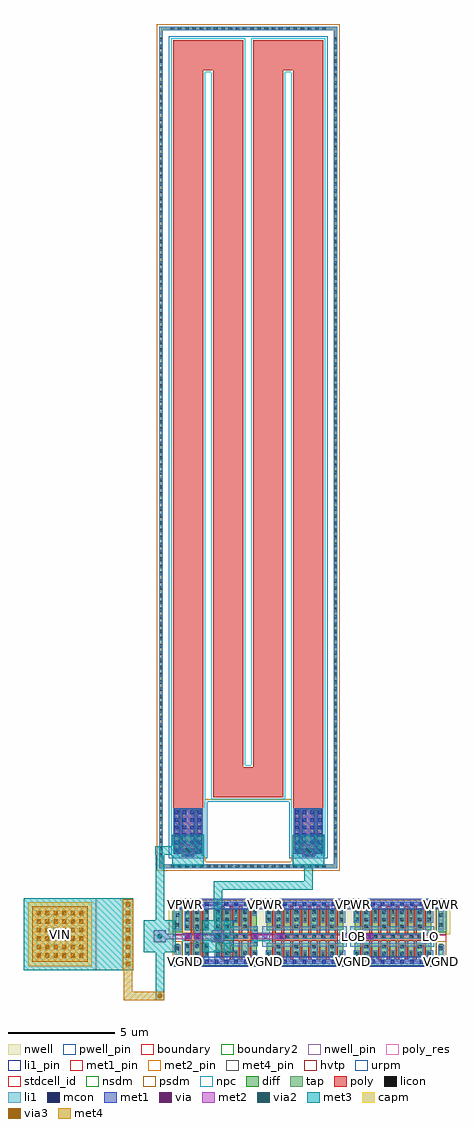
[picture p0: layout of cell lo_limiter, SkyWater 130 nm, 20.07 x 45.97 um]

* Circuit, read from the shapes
.subckt lo_limiter LO LOB VGND VIN VPWR
XM1 n1 n2 VGND VGND sky130_fd_pr__nfet_01v8 w=0.65 l=0.15 m=2
XM2 n3 n1 VGND VGND sky130_fd_pr__nfet_01v8 w=0.65 l=0.15 m=4
XM3 LOB n3 VGND VGND sky130_fd_pr__nfet_01v8 w=0.65 l=0.15 m=8
XM4 LO LOB VGND VGND sky130_fd_pr__nfet_01v8 w=0.65 l=0.15 m=8
XM5 n1 n2 VPWR VPWR sky130_fd_pr__pfet_01v8_hvt w=1 l=0.15 m=2
XM6 n3 n1 VPWR VPWR sky130_fd_pr__pfet_01v8_hvt w=1 l=0.15 m=4
XM7 LOB n3 VPWR VPWR sky130_fd_pr__pfet_01v8_hvt w=1 l=0.15 m=8
XM8 LO LOB VPWR VPWR sky130_fd_pr__pfet_01v8_hvt w=1 l=0.15 m=8
XC9 VIN n2 sky130_fd_pr__cap_mim_m3_1 w=3 l=3
XR10 n2 n1 VGND sky130_fd_pr__res_xhigh_po w=1.41 l=145.12
.ends

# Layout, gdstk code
import gdstk
lib = gdstk.Library(unit=1e-6, precision=5e-09)
def R(c, l, rs):  # rectangles x0, y0, x1, y1
    for r in rs: c.add(gdstk.rectangle(r[:2], r[2:], *l))
def A(c, l, x, y, w, h, nx, ny, dx, dy):  # array of equal rectangles
    R(c, l, [(x+i*dx, y+j*dy, x+i*dx+w, y+j*dy+h) for i in range(nx) for j in range(ny)])
def P(c, l, *ps):  # polygons
    for p in ps: c.add(gdstk.Polygon(p, *l))
nwell_pin = (64, 16)
nwell = (64, 20)
diff = (65, 20)
tap = (65, 44)
poly_res = (66, 13)
poly = (66, 20)
licon = (66, 44)
li1_pin = (67, 16)
li1 = (67, 20)
mcon = (67, 44)
met1_pin = (68, 16)
met1 = (68, 20)
via = (68, 44)
met2_pin = (69, 16)
met2 = (69, 20)
via2 = (69, 44)
met3 = (70, 20)
via3 = (70, 44)
met4_pin = (71, 16)
met4 = (71, 20)
hvtp = (78, 44)
urpm = (79, 20)
stdcell_id = (81, 4)
capm = (89, 44)
nsdm = (93, 44)
psdm = (94, 20)
npc = (95, 20)
pwell_pin = (122, 16)
boundary = (235, 4)
boundary2 = (236, 0)

lo_limiter = lib.new_cell('lo_limiter')
R(lo_limiter, nwell_pin, [(0.605,2.635,0.775,2.805), (1.985,2.635,2.155,2.805), (4.285,2.635,4.455,2.805), (8.425,2.635,8.595,2.805)])
R(lo_limiter, nwell, [(-0.19,1.305,0.65,2.91), (0.27,1.305,2.03,2.91), (1.65,1.305,4.33,2.91), (3.95,1.305,8.47,2.91), (8.09,1.305,12.61,2.91), (12.23,1.305,13.07,2.91)])
R(lo_limiter, diff, [(0.605,0.235,1.695,0.885), (2.025,0.235,3.955,0.885), (4.44,0.235,8.05,0.885), (8.58,0.235,12.19,0.885), (0.605,1.485,1.695,2.485), (2.025,1.485,3.955,2.485), (4.44,1.485,8.05,2.485), (8.58,1.485,12.19,2.485)])
R(lo_limiter, tap, [(0.145,0.32,0.315,0.845), (12.565,0.32,12.735,0.845), (0.145,1.525,0.315,2.4), (12.565,1.525,12.735,2.4), (-0.625,4.415,7.755,4.585), (-0.625,4.585,-0.455,43.875), (7.585,4.585,7.755,43.875), (-0.625,43.875,7.755,44.045)])
R(lo_limiter, poly_res, [(0.025,7.145,1.435,41.985), (5.695,7.145,7.105,41.985), (1.915,7.745,5.215,9.155), (1.915,9.155,3.325,41.985), (3.805,9.155,5.215,41.985), (0.025,41.985,3.325,43.395), (3.805,41.985,7.105,43.395)])
R(lo_limiter, poly, [(0.025,5.065,1.435,41.985), (5.695,5.065,7.105,41.985), (1.915,7.745,5.215,9.155), (1.915,9.155,3.325,41.985), (3.805,9.155,5.215,41.985), (0.025,41.985,3.325,43.395), (3.805,41.985,7.105,43.395)])
P(lo_limiter, poly, [(11.93,2.615),(11.78,2.615),(11.78,1.325),(11.51,1.325),(11.51,2.615),(11.36,2.615),(11.36,1.325),(11.09,1.325),(11.09,2.615),(10.94,2.615),(10.94,1.325),(10.67,1.325),(10.67,2.615),(10.52,2.615),(10.52,1.325),(10.25,1.325),(10.25,2.615),(10.1,2.615),(10.1,1.325),(9.83,1.325),(9.83,2.615),(9.68,2.615),(9.68,1.325),(9.41,1.325),(9.41,2.615),(9.26,2.615),(9.26,1.325),(8.99,1.325),(8.99,2.615),(8.84,2.615),(8.84,0.105),(8.99,0.105),(8.99,0.995),(9.26,0.995),(9.26,0.105),(9.41,0.105),(9.41,0.995),(9.68,0.995),(9.68,0.105),(9.83,0.105),(9.83,0.995),(10.1,0.995),(10.1,0.105),(10.25,0.105),(10.25,0.995),(10.52,0.995),(10.52,0.105),(10.67,0.105),(10.67,0.995),(10.94,0.995),(10.94,0.105),(11.09,0.105),(11.09,0.995),(11.36,0.995),(11.36,0.105),(11.51,0.105),(11.51,0.995),(11.78,0.995),(11.78,0.105),(11.93,0.105)],
  [(7.79,2.615),(7.64,2.615),(7.64,1.325),(7.37,1.325),(7.37,2.615),(7.22,2.615),(7.22,1.325),(6.95,1.325),(6.95,2.615),(6.8,2.615),(6.8,1.325),(6.53,1.325),(6.53,2.615),(6.38,2.615),(6.38,1.325),(6.11,1.325),(6.11,2.615),(5.96,2.615),(5.96,1.325),(5.69,1.325),(5.69,2.615),(5.54,2.615),(5.54,1.325),(5.27,1.325),(5.27,2.615),(5.12,2.615),(5.12,1.325),(4.85,1.325),(4.85,2.615),(4.7,2.615),(4.7,0.105),(4.85,0.105),(4.85,0.995),(5.12,0.995),(5.12,0.105),(5.27,0.105),(5.27,0.995),(5.54,0.995),(5.54,0.105),(5.69,0.105),(5.69,0.995),(5.96,0.995),(5.96,0.105),(6.11,0.105),(6.11,0.995),(6.38,0.995),(6.38,0.105),(6.53,0.105),(6.53,0.995),(6.8,0.995),(6.8,0.105),(6.95,0.105),(6.95,0.995),(7.22,0.995),(7.22,0.105),(7.37,0.105),(7.37,0.995),(7.64,0.995),(7.64,0.105),(7.79,0.105)],
  [(3.695,2.615),(3.545,2.615),(3.545,1.325),(3.275,1.325),(3.275,2.615),(3.125,2.615),(3.125,1.325),(2.855,1.325),(2.855,2.615),(2.705,2.615),(2.705,1.325),(2.435,1.325),(2.435,2.615),(2.285,2.615),(2.285,1.325),(1.945,1.325),(1.945,0.995),(2.285,0.995),(2.285,0.105),(2.435,0.105),(2.435,0.995),(2.705,0.995),(2.705,0.105),(2.855,0.105),(2.855,0.995),(3.125,0.995),(3.125,0.105),(3.275,0.105),(3.275,0.995),(3.545,0.995),(3.545,0.105),(3.695,0.105)],
  [(0.865,0.105),(0.865,0.995),(0.565,0.995),(0.565,1.325),(0.865,1.325),(0.865,2.615),(1.015,2.615),(1.015,1.325),(1.285,1.325),(1.285,2.615),(1.435,2.615),(1.435,0.105),(1.285,0.105),(1.285,0.995),(1.015,0.995),(1.015,0.105)])
A(lo_limiter, licon, 0.645, 0.295, 0.17, 0.17, 3, 2, 0.42, 0.36)
A(lo_limiter, licon, 4.48, 0.295, 0.17, 0.17, 9, 2, 0.42, 1.62)
A(lo_limiter, licon, 8.62, 0.295, 0.17, 0.17, 9, 2, 0.42, 1.62)
A(lo_limiter, licon, 4.9, 0.635, 0.17, 0.17, 4, 2, 0.84, 0.94)
A(lo_limiter, licon, 9.04, 0.635, 0.17, 0.17, 4, 2, 0.84, 0.94)
A(lo_limiter, licon, 2.485, 1.075, 0.17, 0.17, 3, 1, 0.42, 0)
A(lo_limiter, licon, 4.9, 1.075, 0.17, 0.17, 7, 1, 0.42, 0)
A(lo_limiter, licon, 9.04, 1.075, 0.17, 0.17, 7, 1, 0.42, 0)
A(lo_limiter, licon, 0.645, 1.575, 0.17, 0.17, 3, 3, 0.42, 0.34)
A(lo_limiter, licon, 2.065, 1.915, 0.17, 0.17, 4, 1, 0.42, 0)
A(lo_limiter, licon, 2.065, 2.255, 0.17, 0.17, 5, 1, 0.42, 0)
A(lo_limiter, licon, 4.48, 2.255, 0.17, 0.17, 9, 1, 0.42, 0)
A(lo_limiter, licon, 8.62, 2.255, 0.17, 0.17, 9, 1, 0.42, 0)
A(lo_limiter, licon, -0.09, 4.415, 0.17, 0.17, 22, 2, 0.34, 39.46)
A(lo_limiter, licon, -0.625, 4.935, 0.17, 0.17, 1, 114, 0, 0.34)
A(lo_limiter, licon, 7.585, 4.935, 0.17, 0.17, 1, 114, 0, 0.34)
R(lo_limiter, licon, [(2.065,0.295,2.235,0.465), (2.905,0.295,3.075,0.465), (3.745,0.3,3.915,0.47), (2.485,0.335,2.655,0.505), (3.325,0.335,3.495,0.505), (0.145,0.555,0.315,0.725), (12.565,0.555,12.735,0.725), (0.645,1.075,0.815,1.245), (2.025,1.075,2.195,1.245), (2.065,1.575,2.235,1.745), (2.485,1.575,2.655,1.745), (3.325,1.575,3.495,1.745), (0.145,1.645,0.315,1.815), (12.565,1.645,12.735,1.815), (0.145,2.11,0.315,2.28), (12.565,2.11,12.735,2.28), (0.28,5.145,0.47,7.145), (0.99,5.145,1.18,7.145), (5.95,5.145,6.14,7.145), (6.66,5.145,6.85,7.145)])
A(lo_limiter, li1_pin, 1.065, 0.765, 0.17, 0.17, 1, 3, 0, 0.34)
A(lo_limiter, li1_pin, 1.985, 1.105, 0.17, 0.17, 6, 1, 0.46, 0)
A(lo_limiter, li1_pin, 5.205, 1.105, 0.17, 0.17, 8, 1, 0.46, 0)
A(lo_limiter, li1_pin, 9.345, 1.105, 0.17, 0.17, 7, 1, 0.46, 0)
R(lo_limiter, li1_pin, [(3.825,0.765,3.995,0.935), (0.605,1.105,0.775,1.275), (3.825,1.445,3.995,1.615)])
R(lo_limiter, li1, [(0,-0.085,0.46,0.085), (12.42,-0.085,12.88,0.085), (0.085,0,0.375,0.81), (12.505,0,12.795,0.81), (0.565,1.075,0.895,1.325), (1.945,1.075,3.575,1.325), (4.82,1.075,7.675,1.325), (8.96,1.075,11.815,1.325), (0.085,1.47,0.375,2.72), (12.505,1.47,12.795,2.72), (0,2.635,0.46,2.805), (12.42,2.635,12.88,2.805), (-0.625,4.415,7.755,4.585), (-0.625,4.585,-0.455,43.875), (7.585,4.585,7.755,43.875), (0.025,5.065,1.435,7.225), (5.695,5.065,7.105,7.225), (-0.625,43.875,7.755,44.045)])
P(lo_limiter, li1, [(12.335,1.665),(12.015,1.665),(12.015,0.905),(8.71,0.905),(8.71,1.495),(12.015,1.495),(12.015,1.665),(11.81,1.665),(11.81,2.465),(11.48,2.465),(11.48,1.665),(10.97,1.665),(10.97,2.465),(10.64,2.465),(10.64,1.665),(10.13,1.665),(10.13,2.465),(9.8,2.465),(9.8,1.665),(9.29,1.665),(9.29,2.465),(8.96,2.465),(8.96,1.665),(8.365,1.665),(8.365,0.715),(8.96,0.715),(8.96,0.255),(9.29,0.255),(9.29,0.715),(9.8,0.715),(9.8,0.255),(10.13,0.255),(10.13,0.715),(10.64,0.715),(10.64,0.255),(10.97,0.255),(10.97,0.715),(11.48,0.715),(11.48,0.255),(11.81,0.255),(11.81,0.715),(12.335,0.715)],
  [(12.42,0.085),(12.285,0.085),(12.285,0.545),(11.98,0.545),(11.98,0.085),(11.31,0.085),(11.31,0.545),(11.14,0.545),(11.14,0.085),(10.47,0.085),(10.47,0.545),(10.3,0.545),(10.3,0.085),(9.63,0.085),(9.63,0.545),(9.46,0.545),(9.46,0.085),(8.79,0.085),(8.79,0.545),(8.535,0.545),(8.535,0.085),(8.28,0.085),(8.28,-0.085),(12.42,-0.085)],
  [(12.42,2.805),(8.28,2.805),(8.28,2.635),(8.535,2.635),(8.535,1.835),(8.79,1.835),(8.79,2.635),(9.46,2.635),(9.46,1.835),(9.63,1.835),(9.63,2.635),(10.3,2.635),(10.3,1.835),(10.47,1.835),(10.47,2.635),(11.14,2.635),(11.14,1.835),(11.31,1.835),(11.31,2.635),(11.98,2.635),(11.98,1.835),(12.28,1.835),(12.28,2.635),(12.42,2.635)],
  [(8.195,1.665),(7.875,1.665),(7.875,0.905),(4.57,0.905),(4.57,1.495),(7.875,1.495),(7.875,1.665),(7.67,1.665),(7.67,2.465),(7.34,2.465),(7.34,1.665),(6.83,1.665),(6.83,2.465),(6.5,2.465),(6.5,1.665),(5.99,1.665),(5.99,2.465),(5.66,2.465),(5.66,1.665),(5.15,1.665),(5.15,2.465),(4.82,2.465),(4.82,1.665),(4.225,1.665),(4.225,0.715),(4.82,0.715),(4.82,0.255),(5.15,0.255),(5.15,0.715),(5.66,0.715),(5.66,0.255),(5.99,0.255),(5.99,0.715),(6.5,0.715),(6.5,0.255),(6.83,0.255),(6.83,0.715),(7.34,0.715),(7.34,0.255),(7.67,0.255),(7.67,0.715),(8.195,0.715)],
  [(8.28,0.085),(8.145,0.085),(8.145,0.545),(7.84,0.545),(7.84,0.085),(7.17,0.085),(7.17,0.545),(7,0.545),(7,0.085),(6.33,0.085),(6.33,0.545),(6.16,0.545),(6.16,0.085),(5.49,0.085),(5.49,0.545),(5.32,0.545),(5.32,0.085),(4.65,0.085),(4.65,0.545),(4.395,0.545),(4.395,0.085),(4.14,0.085),(4.14,-0.085),(8.28,-0.085)],
  [(8.28,2.805),(4.14,2.805),(4.14,2.635),(4.395,2.635),(4.395,1.835),(4.65,1.835),(4.65,2.635),(5.32,2.635),(5.32,1.835),(5.49,1.835),(5.49,2.635),(6.16,2.635),(6.16,1.835),(6.33,1.835),(6.33,2.635),(7,2.635),(7,1.835),(7.17,1.835),(7.17,2.635),(7.84,2.635),(7.84,1.835),(8.14,1.835),(8.14,2.635),(8.28,2.635)],
  [(4.14,0.085),(3.995,0.085),(3.995,0.55),(3.745,0.55),(3.745,0.085),(3.075,0.085),(3.075,0.545),(2.905,0.545),(2.905,0.085),(2.235,0.085),(2.235,0.545),(1.97,0.545),(1.97,0.085),(1.84,0.085),(1.84,-0.085),(4.14,-0.085)],
  [(4.14,2.805),(1.84,2.805),(1.84,2.635),(1.97,2.635),(1.97,1.495),(2.235,1.495),(2.235,2.635),(2.905,2.635),(2.905,1.835),(3.075,1.835),(3.075,2.635),(3.745,2.635),(3.745,2.175),(3.955,2.175),(3.955,2.635),(4.14,2.635)],
  [(4.01,1.685),(3.575,1.685),(3.575,2.465),(3.245,2.465),(3.245,1.665),(2.735,1.665),(2.735,2.465),(2.405,2.465),(2.405,1.495),(3.745,1.495),(3.745,0.905),(2.405,0.905),(2.405,0.255),(2.735,0.255),(2.735,0.725),(3.245,0.725),(3.245,0.255),(3.575,0.255),(3.575,0.725),(4.01,0.725)],
  [(0.585,1.495),(0.585,2.635),(0.46,2.635),(0.46,2.805),(1.84,2.805),(1.84,2.635),(1.695,2.635),(1.695,1.495),(1.485,1.495),(1.485,2.635),(0.815,2.635),(0.815,1.495)],
  [(0.985,0.255),(0.985,0.885),(1.065,0.885),(1.065,1.485),(0.985,1.485),(0.985,2.465),(1.315,2.465),(1.315,0.255)],
  [(0.46,-0.085),(0.46,0.085),(0.585,0.085),(0.585,0.905),(0.815,0.905),(0.815,0.085),(1.485,0.085),(1.485,0.905),(1.695,0.905),(1.695,0.085),(1.84,0.085),(1.84,-0.085)])
A(lo_limiter, mcon, 0.145, -0.085, 0.17, 0.17, 28, 2, 0.46, 2.72)
A(lo_limiter, mcon, 0.105, 5.16, 0.17, 0.17, 4, 6, 0.36, 0.36)
A(lo_limiter, mcon, 5.775, 5.16, 0.17, 0.17, 4, 6, 0.36, 0.36)
R(lo_limiter, mcon, [(0.645,1.115,0.815,1.285), (1.105,1.115,1.275,1.285), (2.055,1.115,2.225,1.285), (3.795,1.115,3.965,1.285), (5.055,1.115,5.225,1.285), (7.955,1.115,8.125,1.285), (9.195,1.115,9.365,1.285), (12.085,1.115,12.255,1.285)])
R(lo_limiter, met1_pin, [(0.47,-0.13,0.73,0.13), (0.105,-0.09,0.36,0.1), (12.525,-0.09,12.78,0.1), (0.605,-0.085,0.775,0.085), (1.985,-0.085,2.155,0.085), (4.285,-0.085,4.455,0.085), (8.425,-0.085,8.595,0.085), (0.47,2.59,0.73,2.85), (0.11,2.62,0.375,2.765), (12.53,2.62,12.795,2.765), (0.605,2.635,0.775,2.805), (1.985,2.635,2.155,2.805), (4.285,2.635,4.455,2.805), (8.425,2.635,8.595,2.805)])
R(lo_limiter, met1, [(0,-0.24,0.46,0.24), (12.42,-0.24,12.88,0.24), (0.57,1.055,0.89,1.345), (1.03,1.055,1.35,1.345), (1.98,1.055,2.3,1.345), (3.72,1.055,4.04,1.345), (4.98,1.055,5.3,1.345), (7.88,1.055,8.2,1.345), (9.12,1.055,9.44,1.345), (12.01,1.055,12.33,1.345), (0,2.48,0.46,2.96), (12.42,2.48,12.88,2.96), (0.515,5.025,0.945,5.455), (6.185,5.025,6.615,5.455), (0.075,5.095,1.385,7.2), (5.745,5.095,7.055,7.2)])
R(lo_limiter, via, [(0.655,1.125,0.805,1.275), (1.115,1.125,1.265,1.275), (2.065,1.125,2.215,1.275), (3.805,1.125,3.955,1.275), (5.065,1.125,5.215,1.275), (7.965,1.125,8.115,1.275), (9.205,1.125,9.355,1.275), (12.095,1.125,12.245,1.275), (0.655,5.165,0.805,5.315), (6.325,5.165,6.475,5.315)])
R(lo_limiter, met2_pin, [(8.41,1.07,8.67,1.33), (12.04,1.07,12.3,1.33)])
R(lo_limiter, met2, [(-0.89,0.91,-0.31,1.49), (1.85,0.91,2.43,1.49), (-0.735,1.07,0.855,1.33), (0.57,1.07,0.89,1.33), (1.03,1.07,1.35,1.33), (1.055,1.07,2.265,1.33), (1.98,1.07,2.3,1.33), (3.72,1.07,4.04,1.33), (3.75,1.07,5.27,1.33), (4.98,1.07,5.3,1.33), (7.88,1.07,8.2,1.33), (7.91,1.07,9.41,1.33), (9.12,1.07,9.44,1.33), (12.01,1.07,12.33,1.33), (0.44,4.95,1.02,5.53), (6.11,4.95,6.69,5.53)])
R(lo_limiter, via2, [(-0.7,1.1,-0.5,1.3), (2.04,1.1,2.24,1.3), (0.63,5.14,0.83,5.34), (6.3,5.14,6.5,5.34)])
R(lo_limiter, met3, [(-0.8,-1.8,-0.4,1.4), (-0.79,-1.79,-0.41,-1.41), (-7,-0.4,-1.84,3), (-1.35,0.45,0.15,1.95), (1.39,0.45,2.89,1.95), (-0.8,1,-0.4,5.44), (1.94,1,2.34,3.8), (1.94,3.4,6.6,3.8), (6.2,3.4,6.6,5.44), (-0.02,4.49,1.48,5.99), (5.65,4.49,7.15,5.99), (-0.805,5.04,0.925,5.44)])
A(lo_limiter, via3, -2.2, -0.2, 0.2, 0.2, 1, 8, 0, 0.4)
A(lo_limiter, via3, -6.4, 0.2, 0.2, 0.2, 6, 6, 0.4, 0.4)
R(lo_limiter, via3, [(-0.7,-1.7,-0.5,-1.5)])
R(lo_limiter, met4_pin, [(-5.43,1.17,-5.17,1.43)])
R(lo_limiter, met4, [(-2.3,-1.8,-1.9,1.5), (-2.3,-1.8,-0.4,-1.4), (-0.77,-1.77,-0.43,-1.43), (-2.34,-0.34,-1.86,2.94), (-6.605,-0.005,-3.995,2.605)])
R(lo_limiter, hvtp, [(0,1.25,0.46,2.72), (0.46,1.25,1.84,2.72), (1.84,1.25,4.14,2.72), (4.14,1.25,8.28,2.72), (8.28,1.25,12.42,2.72), (12.42,1.25,12.88,2.72)])
R(lo_limiter, urpm, [(-0.175,4.865,1.635,7.545), (5.495,4.865,7.305,7.545), (-0.175,7.545,7.305,43.595)])
R(lo_limiter, stdcell_id, [(0,0,0.46,2.72), (0.46,0,1.84,2.72), (1.84,0,4.14,2.72), (4.14,0,8.28,2.72), (8.28,0,12.42,2.72), (12.42,0,12.88,2.72)])
R(lo_limiter, capm, [(-6.8,-0.2,-3.8,2.8)])
R(lo_limiter, nsdm, [(0,-0.19,0.46,0.19), (0.46,-0.19,1.84,1.015), (1.84,-0.19,4.14,1.015), (4.14,-0.19,8.28,1.015), (8.28,-0.19,12.42,1.015), (12.42,-0.19,12.88,0.19), (0,1.395,0.46,2.53), (12.42,1.395,12.88,2.53)])
R(lo_limiter, psdm, [(0,0.19,0.46,0.975), (12.42,0.19,12.88,0.975), (0.46,1.355,1.84,2.91), (1.84,1.355,4.14,2.91), (4.14,1.355,8.28,2.91), (8.28,1.355,12.42,2.91), (0,2.53,0.46,2.91), (12.42,2.53,12.88,2.91), (-0.75,4.29,7.88,4.71), (-0.75,4.71,1.545,7.635), (5.585,4.71,7.88,7.635), (-0.75,7.635,7.88,44.17)])
R(lo_limiter, npc, [(0.46,0.975,1.84,1.345), (1.84,0.975,4.14,1.345), (4.14,0.975,8.28,1.345), (8.28,0.975,12.42,1.345), (-0.07,4.97,1.53,41.89), (5.6,4.97,7.2,41.89), (1.82,7.65,5.31,9.25), (1.82,9.25,3.42,41.89), (3.71,9.25,5.31,41.89), (-0.07,41.89,3.42,43.49), (3.71,41.89,7.2,43.49)])
R(lo_limiter, pwell_pin, [(0.605,-0.085,0.775,0.085), (1.985,-0.085,2.155,0.085), (4.285,-0.085,4.455,0.085), (8.425,-0.085,8.595,0.085)])
R(lo_limiter, boundary, [(-7,-0.4,-3.6,3), (-0.54,4.5,7.67,43.96)])
R(lo_limiter, boundary2, [(0.46,0,1.84,2.72), (1.84,0,4.14,2.72), (4.14,0,8.28,2.72), (8.28,0,12.42,2.72)])
lo_limiter.add(gdstk.FlexPath([(8.28,2.72),(12.42,2.72)], 0.48, ends="flush", simple_path=True, layer=68, datatype=20))  # met1
lo_limiter.add(gdstk.FlexPath([(8.28,0),(12.42,0)], 0.48, ends="flush", simple_path=True, layer=68, datatype=20))  # met1
lo_limiter.add(gdstk.FlexPath([(4.14,2.72),(8.28,2.72)], 0.48, ends="flush", simple_path=True, layer=68, datatype=20))  # met1
lo_limiter.add(gdstk.FlexPath([(4.14,0),(8.28,0)], 0.48, ends="flush", simple_path=True, layer=68, datatype=20))  # met1
lo_limiter.add(gdstk.FlexPath([(1.84,2.72),(4.14,2.72)], 0.48, ends="flush", simple_path=True, layer=68, datatype=20))  # met1
lo_limiter.add(gdstk.FlexPath([(1.84,0),(4.14,0)], 0.48, ends="flush", simple_path=True, layer=68, datatype=20))  # met1
lo_limiter.add(gdstk.FlexPath([(0.46,2.72),(1.84,2.72)], 0.48, ends="flush", simple_path=True, layer=68, datatype=20))  # met1
lo_limiter.add(gdstk.FlexPath([(0.46,0),(1.84,0)], 0.48, ends="flush", simple_path=True, layer=68, datatype=20))  # met1
lo_limiter.add(gdstk.Label('VIN', (-5.3,1.3), layer=71, texttype=5))
lo_limiter.add(gdstk.Label('LO', (12.17,1.2), layer=69, texttype=5))
lo_limiter.add(gdstk.Label('LOB', (8.54,1.2), layer=69, texttype=5))
lo_limiter.add(gdstk.Label('VPWR', (0.6,2.72), layer=68, texttype=5))
lo_limiter.add(gdstk.Label('VGND', (0.6,0), layer=68, texttype=5))
lo_limiter.add(gdstk.Label('VPWR', (0.23,2.72), layer=68, texttype=5))
lo_limiter.add(gdstk.Label('VGND', (0.23,0), layer=68, texttype=5))
lo_limiter.add(gdstk.Label('VPWR', (12.65,2.72), layer=68, texttype=5))
lo_limiter.add(gdstk.Label('VGND', (12.65,0), layer=68, texttype=5))
lo_limiter.add(gdstk.Label('VGND', (8.51,0), layer=68, texttype=5))
lo_limiter.add(gdstk.Label('VPWR', (8.51,2.72), layer=68, texttype=5))
lo_limiter.add(gdstk.Label('VGND', (4.37,0), layer=68, texttype=5))
lo_limiter.add(gdstk.Label('VPWR', (4.37,2.72), layer=68, texttype=5))
lo_limiter.add(gdstk.Label('VPWR', (2.07,2.72), layer=68, texttype=5))
lo_limiter.add(gdstk.Label('VGND', (2.07,0), layer=68, texttype=5))
lo_limiter.add(gdstk.Label('VPWR', (0.69,2.72), layer=68, texttype=5))
lo_limiter.add(gdstk.Label('VGND', (0.69,0), layer=68, texttype=5))

lib.write_gds('lo_limiter.gds')
